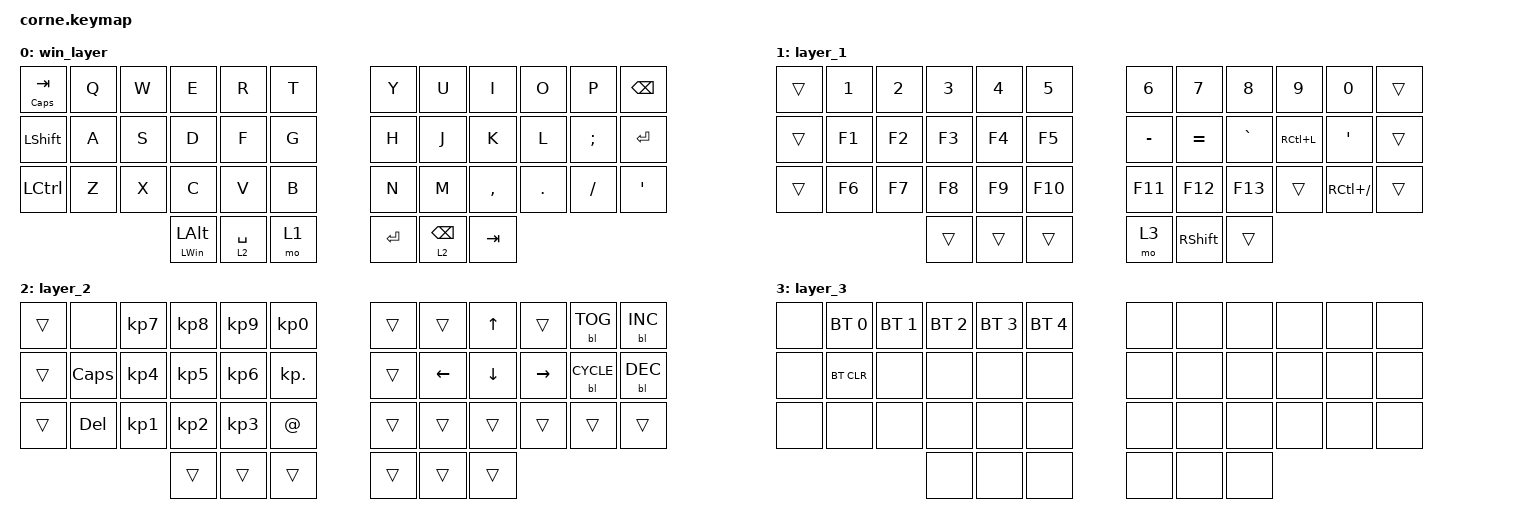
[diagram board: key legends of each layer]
/*
 * Copyright (c) 2020 The ZMK Contributors
 *
 * SPDX-License-Identifier: MIT
 */

#include <behaviors.dtsi>
#include <dt-bindings/zmk/backlight.h>
#include <dt-bindings/zmk/bt.h>
#include <dt-bindings/zmk/keys.h>
#include <dt-bindings/zmk/keys.h>

/ {
    combos {
        compatible = "zmk,combos";

        combo1 {
            bindings = <&kp LBKT>;
            key-positions = <3 4>;
        };

        combo2 {
            bindings = <&kp RBKT>;
            key-positions = <7 8>;
        };

        combo3 {
            bindings = <&kp LEFT_PARENTHESIS>;
            key-positions = <15 16>;
        };

        combo4 {
            bindings = <&kp RIGHT_PARENTHESIS>;
            key-positions = <19 20>;
        };

        combo5 {
            bindings = <&kp LEFT_BRACE>;
            key-positions = <27 28>;
        };

        combo6 {
            bindings = <&kp RIGHT_BRACE>;
            key-positions = <31 32>;
        };

        combo7 {
            bindings = <&kp BACKSLASH>;
            key-positions = <5 6>;
        };

        combo8 {
            bindings = <&kp PIPE>;
            key-positions = <17 18>;
        };

        combo9 {
            bindings = <&to 0>;
            key-positions = <1 10>;
        };

        combo10 {
            bindings = <&to 0>;
            key-positions = <2 9>;
        };
    };

    behaviors {
        tab_esc_ctrl: tab_esc_ctrl {
            compatible = "zmk,behavior-tap-dance";
            label = "TAB_ESC_CTRL";
            #binding-cells = <0>;
            bindings = <&mt LCTRL ESC>, <&kp TAB>;
        };

        gqt: global-quick-tap {
            compatible = "zmk,behavior-hold-tap";
            label = "GLOBAL_QUICK_TAP";
            bindings = <&kp>, <&kp>;

            #binding-cells = <2>;
            tapping-term-ms = <300>;
            quick-tap-ms = <180>;
            global-quick-tap;
            flavor = "tap-preferred";
        };

        ltq: ltq {
            compatible = "zmk,behavior-hold-tap";
            label = "LTQ";
            bindings = <&mo>, <&kp>;

            #binding-cells = <2>;
            tapping-term-ms = <200>;
            quick-tap-ms = <180>;
            global-quick-tap;
        };

        caps_esc_ctrl: caps_esc_ctrl {
            compatible = "zmk,behavior-tap-dance";
            label = "CAPS_ESC_CTRL";
            #binding-cells = <0>;
            bindings = <&mt LCTRL ESC>, <&kt CAPSLOCK>;
        };
    };

    keymap {
        compatible = "zmk,keymap";

        win_layer {
            bindings = <
&gqt CAPS TAB   &kp Q  &kp W  &kp E                   &kp R        &kp T    &kp Y      &kp U        &kp I      &kp O    &kp P          &kp BACKSPACE
&kp LEFT_SHIFT  &kp A  &kp S  &kp D                   &kp F        &kp G    &kp H      &kp J        &kp K      &kp L    &kp SEMICOLON  &kp ENTER
&kp LCTRL       &kp Z  &kp X  &kp C                   &kp V        &kp B    &kp N      &kp M        &kp COMMA  &kp DOT  &kp FSLH       &kp SQT
                              &gqt LEFT_WIN LEFT_ALT  &lt 2 SPACE  &mo 1    &kp ENTER  &ltq 2 BSPC  &kp TAB
            >;
        };

        layer_1 {
            bindings = <
&trans  &kp NUMBER_1  &kp NUMBER_2  &kp NUMBER_3  &kp NUMBER_4  &kp NUMBER_5    &kp NUMBER_6  &kp NUMBER_7  &kp NUMBER_8  &kp NUMBER_9  &kp NUMBER_0   &trans
&trans  &kp F1        &kp F2        &kp F3        &kp F4        &kp F5          &kp MINUS     &kp EQUAL     &kp GRAVE     &kp RC(L)     &kp SQT        &trans
&trans  &kp F6        &kp F7        &kp F8        &kp F9        &kp F10         &kp F11       &kp F12       &kp F13       &trans        &kp RC(SLASH)  &trans
                                    &trans        &trans        &trans          &mo 3         &kp RSHIFT    &trans
            >;
        };

        layer_2 {
            bindings = <
&trans  &none     &kp KP_NUMBER_7  &kp KP_NUMBER_8  &kp KP_NUMBER_9  &kp KP_NUMBER_0    &trans  &trans    &kp UP    &trans     &bl BL_TOG    &bl BL_INC
&trans  &kp CAPS  &kp KP_NUMBER_4  &kp KP_NUMBER_5  &kp KP_NUMBER_6  &kp KP_DOT         &trans  &kp LEFT  &kp DOWN  &kp RIGHT  &bl BL_CYCLE  &bl BL_DEC
&trans  &kp DEL   &kp KP_NUMBER_1  &kp KP_NUMBER_2  &kp KP_NUMBER_3  &kp AT_SIGN        &trans  &trans    &trans    &trans     &trans        &trans
                                   &trans           &trans           &trans             &trans  &trans    &trans
            >;
        };

        layer_3 {
            bindings = <
&none  &bt BT_SEL 0  &bt BT_SEL 1  &bt BT_SEL 2  &bt BT_SEL 3  &bt BT_SEL 4    &none  &none  &none  &none  &none  &none
&none  &bt BT_CLR    &none         &none         &none         &none           &none  &none  &none  &none  &none  &none
&none  &none         &none         &none         &none         &none           &none  &none  &none  &none  &none  &none
                                   &none         &none         &none           &none  &none  &none
            >;
        };
    };
};
